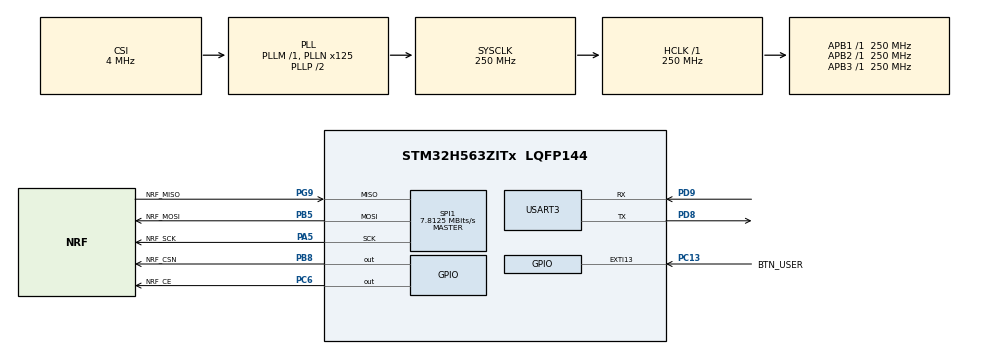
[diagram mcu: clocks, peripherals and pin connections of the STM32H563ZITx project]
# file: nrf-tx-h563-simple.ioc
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CORTEX_M33_NS.userName=CORTEX_M33
Mcu.Family=STM32H5
Mcu.Name=STM32H563ZITx
Mcu.Package=LQFP144
NVIC.EXTI13_IRQn=true\:0\:0\:false\:false\:true\:true\:true\:true
NVIC.PriorityGroup=NVIC_PRIORITYGROUP_4
PA5.GPIO_Label=NRF_SCK
PA5.Mode=Full_Duplex_Master
PA5.Signal=SPI1_SCK
PB5.GPIO_Label=NRF_MOSI
PB5.Mode=Full_Duplex_Master
PB5.Signal=SPI1_MOSI
PB8.GPIO_Label=NRF_CSN
PB8.Signal=GPIO_Output
PC13.GPIO_Label=BTN_USER
PC13.Signal=GPXTI13
PC6.GPIO_Label=NRF_CE
PC6.Signal=GPIO_Output
PD8.Mode=Asynchronous
PD8.Signal=USART3_TX
PD9.Mode=Asynchronous
PD9.Signal=USART3_RX
PG9.GPIO_Label=NRF_MISO
PG9.Mode=Full_Duplex_Master
PG9.Signal=SPI1_MISO
ProjectManager.HeapSize=0x200
ProjectManager.StackSize=0x400
ProjectManager.TargetToolchain=STM32CubeIDE
RCC.ADCFreq_Value=250000000
RCC.AHBFreq_Value=250000000
RCC.APB1Freq_Value=250000000
RCC.APB1TimFreq_Value=250000000
RCC.APB2Freq_Value=250000000
RCC.APB2TimFreq_Value=250000000
RCC.APB3Freq_Value=250000000
RCC.CSI_VALUE=4000000
RCC.CortexFreq_Value=250000000
RCC.EPOD_VALUE=4000000
RCC.HCLKFreq_Value=250000000
RCC.HSE_VALUE=25000000
RCC.HSI48_VALUE=48000000
RCC.HSI_VALUE=64000000
RCC.LSE_VALUE=32768
RCC.LSIRC_VALUE=32000
RCC.PLL2FRACN=0
RCC.PLL3FRACN=0
RCC.PLLFRACN=0
RCC.PLLN=125
RCC.SYSCLKFreq_VALUE=250000000
RCC.SYSCLKSource=RCC_SYSCLKSOURCE_PLLCLK
RCC.USBFreq_Value=48000000
RCC.VCOOutputFreq_Value=500000000
SPI1.BaudRatePrescaler=SPI_BAUDRATEPRESCALER_32
SPI1.CalculateBaudRate=7.8125 MBits/s
SPI1.DataSize=SPI_DATASIZE_8BIT
SPI1.Direction=SPI_DIRECTION_2LINES
SPI1.Mode=SPI_MODE_MASTER
SPI1.VirtualType=VM_MASTER
USART3.VirtualMode=VM_ASYNC
VP_BOOTPATH_VS_BOOTPATH.Mode=BP_Activate
VP_MEMORYMAP_VS_MEMORYMAP.Mode=CurAppReg
VP_PWR_VS_DBSignals.Mode=DisableDeadBatterySignals
VP_PWR_VS_LPOM.Mode=PowerOptimisation
VP_PWR_VS_SECSignals.Mode=Security/Privilege
board=custom

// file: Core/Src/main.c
/* USER CODE BEGIN Header */
/**
  ******************************************************************************
  * @file           : main.c
  * @brief          : Main program body
  ******************************************************************************
  * @attention
  *
  * Copyright (c) 2023 STMicroelectronics.
  * All rights reserved.
  *
  * This software is licensed under terms that can be found in the LICENSE file
  * in the root directory of this software component.
  * If no LICENSE file comes with this software, it is provided AS-IS.
  *
  ******************************************************************************
  */
/* USER CODE END Header */
#include "main.h"

/* USER CODE BEGIN Includes */
#include <stdio.h>
#include "nrf24l01.h"
/* USER CODE END Includes */

SPI_HandleTypeDef hspi1;

UART_HandleTypeDef huart3;

void SystemClock_Config(void);
static void MX_GPIO_Init(void);
static void MX_MEMORYMAP_Init(void);
static void MX_SPI1_Init(void);
static void MX_USART3_UART_Init(void);

/* USER CODE BEGIN 0 */

/**************************************
 *           EXAMPLE CODE BEGIN
 **************************************/

// BEGIN REDIRECT
// This is used to redirect printf to UART
#ifdef __GNUC__
#define PUTCHAR_PROTOTYPE int __io_putchar(int ch)
#else
#define PUTCHAR_PROTOTYPE int fputc(int ch, FILE *f)
#endif

PUTCHAR_PROTOTYPE
{
  HAL_UART_Transmit(&huart3, (uint8_t *)&ch, 1, HAL_MAX_DELAY);
  return ch;
}
// END REDIRECT

// Configure the device
void runExample() {
  printf("\r\nStarting up simple TX H5...\r\n");

  // Initialise the library and make the device enter standby-I mode
  if(NRF_Init(&hspi1, NRF_CSN_GPIO_Port, NRF_CSN_Pin, NRF_CE_GPIO_Port, NRF_CE_Pin) != NRF_OK) {
    printf("Couldn't initialise device, are pins correctly connected?\r\n");
    Error_Handler();
  }

  // Resets all registers but keeps the device in standby-I mode
  NRF_Reset();

  // Set the transmit adress
  uint8_t address[5] = {1,2,3,4,5};
  NRF_WriteRegister(NRF_REG_TX_ADDR, address, 5);

  // To be able to receive auto acknowledgement from the receiver
  // we need to enter a receive address as well
  NRF_WriteRegister(NRF_REG_RX_ADDR_P0, address, 5);
}

// This runs when user button is pressed
void HAL_GPIO_EXTI_Rising_Callback(uint16_t GPIO_Pin) {
  if (GPIO_Pin == BTN_USER_Pin) {
    NRF_PrintStatus();

    printf("Sending data...\r\n");

    uint8_t msg[10] = "HelloWorld";
    NRF_Status ret = NRF_TransmitAndWait(msg, 10);
    switch (ret) {
      case NRF_MAX_RT:
        printf("Max retransmissions reached, RX device not responding?\r\n");
        break;
      case NRF_SPI_BUSY:
      case NRF_SPI_TIMEOUT:
      case NRF_SPI_ERROR:
        printf("SPI error, pins correctly connected?\r\n");
        break;
      case NRF_OK:
        printf("Data sent...\r\n");
        break;
      case NRF_ERROR:
        printf("Error when sending.\r\n");
        break;
    }
  }
}

/**************************************
 *           EXAMPLE CODE END
 **************************************/

/* USER CODE END 0 */

int main(void)
{

  /* MCU Configuration--------------------------------------------------------*/

  /* Reset of all peripherals, Initializes the Flash interface and the Systick. */
  HAL_Init();

  /* Configure the system clock */
  SystemClock_Config();

  /* Initialize all configured peripherals */
  MX_GPIO_Init();
  MX_MEMORYMAP_Init();
  MX_SPI1_Init();
  MX_USART3_UART_Init();
  /* USER CODE BEGIN 2 */
  runExample();
  /* USER CODE END 2 */

  /* Infinite loop */
  while (1)
  {

  }
}

void SystemClock_Config(void)
{
  RCC_OscInitTypeDef RCC_OscInitStruct = {0};
  RCC_ClkInitTypeDef RCC_ClkInitStruct = {0};

  /** Configure the main internal regulator output voltage
  */
  __HAL_PWR_VOLTAGESCALING_CONFIG(PWR_REGULATOR_VOLTAGE_SCALE0);

  while(!__HAL_PWR_GET_FLAG(PWR_FLAG_VOSRDY)) {}

  /** Initializes the RCC Oscillators according to the specified parameters
  * in the RCC_OscInitTypeDef structure.
  */
  RCC_OscInitStruct.OscillatorType = RCC_OSCILLATORTYPE_CSI;
  RCC_OscInitStruct.CSIState = RCC_CSI_ON;
  RCC_OscInitStruct.CSICalibrationValue = RCC_CSICALIBRATION_DEFAULT;
  RCC_OscInitStruct.PLL.PLLState = RCC_PLL_ON;
  RCC_OscInitStruct.PLL.PLLSource = RCC_PLL1_SOURCE_CSI;
  RCC_OscInitStruct.PLL.PLLM = 1;
  RCC_OscInitStruct.PLL.PLLN = 125;
  RCC_OscInitStruct.PLL.PLLP = 2;
  RCC_OscInitStruct.PLL.PLLQ = 2;
  RCC_OscInitStruct.PLL.PLLR = 2;
  RCC_OscInitStruct.PLL.PLLRGE = RCC_PLL1_VCIRANGE_2;
  RCC_OscInitStruct.PLL.PLLVCOSEL = RCC_PLL1_VCORANGE_WIDE;
  RCC_OscInitStruct.PLL.PLLFRACN = 0;
  if (HAL_RCC_OscConfig(&RCC_OscInitStruct) != HAL_OK)
  {
    Error_Handler();
  }

  /** Initializes the CPU, AHB and APB buses clocks
  */
  RCC_ClkInitStruct.ClockType = RCC_CLOCKTYPE_HCLK|RCC_CLOCKTYPE_SYSCLK
                              |RCC_CLOCKTYPE_PCLK1|RCC_CLOCKTYPE_PCLK2
                              |RCC_CLOCKTYPE_PCLK3;
  RCC_ClkInitStruct.SYSCLKSource = RCC_SYSCLKSOURCE_PLLCLK;
  RCC_ClkInitStruct.AHBCLKDivider = RCC_SYSCLK_DIV1;
  RCC_ClkInitStruct.APB1CLKDivider = RCC_HCLK_DIV1;
  RCC_ClkInitStruct.APB2CLKDivider = RCC_HCLK_DIV1;
  RCC_ClkInitStruct.APB3CLKDivider = RCC_HCLK_DIV1;

  if (HAL_RCC_ClockConfig(&RCC_ClkInitStruct, FLASH_LATENCY_5) != HAL_OK)
  {
    Error_Handler();
  }
}

static void MX_MEMORYMAP_Init(void)
{

}

static void MX_SPI1_Init(void)
{

  /* SPI1 parameter configuration*/
  hspi1.Instance = SPI1;
  hspi1.Init.Mode = SPI_MODE_MASTER;
  hspi1.Init.Direction = SPI_DIRECTION_2LINES;
  hspi1.Init.DataSize = SPI_DATASIZE_8BIT;
  hspi1.Init.CLKPolarity = SPI_POLARITY_LOW;
  hspi1.Init.CLKPhase = SPI_PHASE_1EDGE;
  hspi1.Init.NSS = SPI_NSS_SOFT;
  hspi1.Init.BaudRatePrescaler = SPI_BAUDRATEPRESCALER_32;
  hspi1.Init.FirstBit = SPI_FIRSTBIT_MSB;
  hspi1.Init.TIMode = SPI_TIMODE_DISABLE;
  hspi1.Init.CRCCalculation = SPI_CRCCALCULATION_DISABLE;
  hspi1.Init.CRCPolynomial = 0x7;
  hspi1.Init.NSSPMode = SPI_NSS_PULSE_ENABLE;
  hspi1.Init.NSSPolarity = SPI_NSS_POLARITY_LOW;
  hspi1.Init.FifoThreshold = SPI_FIFO_THRESHOLD_01DATA;
  hspi1.Init.MasterSSIdleness = SPI_MASTER_SS_IDLENESS_00CYCLE;
  hspi1.Init.MasterInterDataIdleness = SPI_MASTER_INTERDATA_IDLENESS_00CYCLE;
  hspi1.Init.MasterReceiverAutoSusp = SPI_MASTER_RX_AUTOSUSP_DISABLE;
  hspi1.Init.MasterKeepIOState = SPI_MASTER_KEEP_IO_STATE_DISABLE;
  hspi1.Init.IOSwap = SPI_IO_SWAP_DISABLE;
  hspi1.Init.ReadyMasterManagement = SPI_RDY_MASTER_MANAGEMENT_INTERNALLY;
  hspi1.Init.ReadyPolarity = SPI_RDY_POLARITY_HIGH;
  if (HAL_SPI_Init(&hspi1) != HAL_OK)
  {
    Error_Handler();
  }

}

static void MX_USART3_UART_Init(void)
{

  huart3.Instance = USART3;
  huart3.Init.BaudRate = 115200;
  huart3.Init.WordLength = UART_WORDLENGTH_8B;
  huart3.Init.StopBits = UART_STOPBITS_1;
  huart3.Init.Parity = UART_PARITY_NONE;
  huart3.Init.Mode = UART_MODE_TX_RX;
  huart3.Init.HwFlowCtl = UART_HWCONTROL_NONE;
  huart3.Init.OverSampling = UART_OVERSAMPLING_16;
  huart3.Init.OneBitSampling = UART_ONE_BIT_SAMPLE_DISABLE;
  huart3.Init.ClockPrescaler = UART_PRESCALER_DIV1;
  huart3.AdvancedInit.AdvFeatureInit = UART_ADVFEATURE_NO_INIT;
  if (HAL_UART_Init(&huart3) != HAL_OK)
  {
    Error_Handler();
  }
  if (HAL_UARTEx_SetTxFifoThreshold(&huart3, UART_TXFIFO_THRESHOLD_1_8) != HAL_OK)
  {
    Error_Handler();
  }
  if (HAL_UARTEx_SetRxFifoThreshold(&huart3, UART_RXFIFO_THRESHOLD_1_8) != HAL_OK)
  {
    Error_Handler();
  }
  if (HAL_UARTEx_DisableFifoMode(&huart3) != HAL_OK)
  {
    Error_Handler();
  }

}

static void MX_GPIO_Init(void)
{
  GPIO_InitTypeDef GPIO_InitStruct = {0};

  /* GPIO Ports Clock Enable */
  __HAL_RCC_GPIOC_CLK_ENABLE();
  __HAL_RCC_GPIOA_CLK_ENABLE();
  __HAL_RCC_GPIOD_CLK_ENABLE();
  __HAL_RCC_GPIOG_CLK_ENABLE();
  __HAL_RCC_GPIOB_CLK_ENABLE();

  /*Configure GPIO pin Output Level */
  HAL_GPIO_WritePin(NRF_CE_GPIO_Port, NRF_CE_Pin, GPIO_PIN_RESET);

  /*Configure GPIO pin Output Level */
  HAL_GPIO_WritePin(NRF_CSN_GPIO_Port, NRF_CSN_Pin, GPIO_PIN_RESET);

  /*Configure GPIO pin : BTN_USER_Pin */
  GPIO_InitStruct.Pin = BTN_USER_Pin;
  GPIO_InitStruct.Mode = GPIO_MODE_IT_RISING;
  GPIO_InitStruct.Pull = GPIO_NOPULL;
  HAL_GPIO_Init(BTN_USER_GPIO_Port, &GPIO_InitStruct);

  /*Configure GPIO pin : NRF_CE_Pin */
  GPIO_InitStruct.Pin = NRF_CE_Pin;
  GPIO_InitStruct.Mode = GPIO_MODE_OUTPUT_PP;
  GPIO_InitStruct.Pull = GPIO_NOPULL;
  GPIO_InitStruct.Speed = GPIO_SPEED_FREQ_LOW;
  HAL_GPIO_Init(NRF_CE_GPIO_Port, &GPIO_InitStruct);

  /*Configure GPIO pin : NRF_CSN_Pin */
  GPIO_InitStruct.Pin = NRF_CSN_Pin;
  GPIO_InitStruct.Mode = GPIO_MODE_OUTPUT_PP;
  GPIO_InitStruct.Pull = GPIO_NOPULL;
  GPIO_InitStruct.Speed = GPIO_SPEED_FREQ_LOW;
  HAL_GPIO_Init(NRF_CSN_GPIO_Port, &GPIO_InitStruct);

  /* EXTI interrupt init*/
  HAL_NVIC_SetPriority(EXTI13_IRQn, 0, 0);
  HAL_NVIC_EnableIRQ(EXTI13_IRQn);

}

void Error_Handler(void)
{
  __disable_irq();
  while (1)
  {
  }
}
